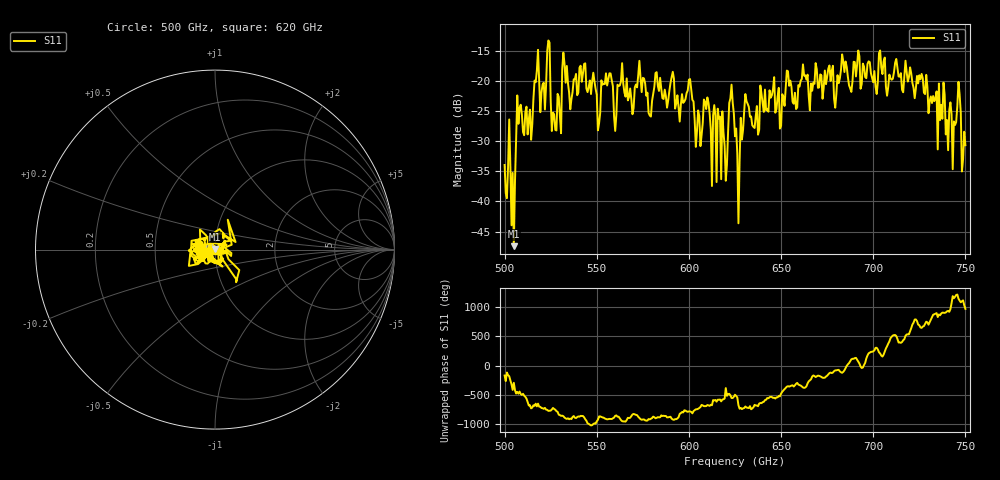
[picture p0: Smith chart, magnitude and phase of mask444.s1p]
!Created with skrf (http://scikit-rf.org).
# GHz S MA R 50.0
!freq magS11 angS11
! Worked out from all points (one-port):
!   401 points, 500 GHz to 750 GHz, reference 50 ohm
!   lowest |S11| = -47.4 dB at 505 GHz (marker M1), VSWR 1.01, Z = 50.2 + j0.386 ohm
!   |S11| at or under -10 dB: start of sweep to end of sweep
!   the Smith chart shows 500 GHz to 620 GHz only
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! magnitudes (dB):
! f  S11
! 500 GHz  -33.9
! 505 GHz  -47.4
! 508.1 GHz  -24.5
! 513.8 GHz  -24.8
! 516.9 GHz  -20.2
! 520.6 GHz  -20.6
! 523.8 GHz  -13.3
! 526.9 GHz  -25.6
! 531.2 GHz  -18.1
! 542.5 GHz  -18.8
! 550.6 GHz  -28.2
! 562.5 GHz  -20.8
! 590.6 GHz  -19.4
! 593.8 GHz  -22.4
! 600 GHz  -19.8
! 605 GHz  -24.9
! 609.4 GHz  -24.7
! 620 GHz  -36.6
! 623.1 GHz  -20.6
! 625 GHz  -29.2
! 626.2 GHz  -32.1
! 631.2 GHz  -23.4
! 656.2 GHz  -23.5
! 687.5 GHz  -21.2
! 718.8 GHz  -20.1
! 741.9 GHz  -23.6
! 746.2 GHz  -20.2
! 750 GHz  -30.7
